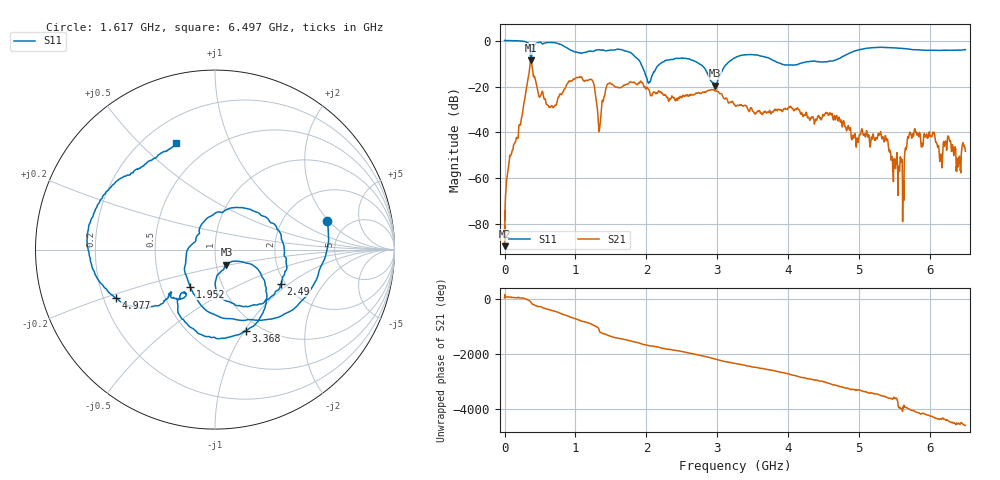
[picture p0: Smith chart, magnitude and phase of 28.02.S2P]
!Keysight Technologies,E5063A,MY54503115,A.05.08
!Date: Mon Dec 04 18:03:53 2023
!Data & Calibration Information:
!Freq	S11:NONE(--)	S21:NONE(--)	S12:NONE(--)	S22:NONE(--)
# Hz S dB R 50
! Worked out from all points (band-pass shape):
!   10001 points, 100 kHz to 6.5 GHz, reference 50 ohm
!   highest |S21| = -8.52 dB at 369.3 MHz (marker M1); lowest = -89.5 dB at 1.4 MHz (marker M2)
!   |S21| within 3 dB of the highest: 354.9 MHz to 389.8 MHz (34.92 MHz wide, 9.38 % of centre)
!   lowest |S11| = -19.6 dB at 2.969 GHz (marker M3), VSWR 1.23, Z = 56 - j9.44 ohm
!   |S11| at or under -10 dB: 1.923 GHz to 2.196 GHz (273.1 MHz wide, 13.3 % of centre); 2.739 GHz to 3.14 GHz (401.2 MHz wide, 13.6 % of centre); 3.897 GHz to 4.165 GHz (268.2 MHz wide, 6.65 % of centre)
!   S12 and S22 are empty: the file has one direction only
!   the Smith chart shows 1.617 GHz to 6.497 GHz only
!   S11 on the Smith chart (normalised r, x): 1.617 GHz: 3.52, +1.92; 1.952 GHz: 0.70, -0.31; 2.49 GHz: 1.90, -0.87; 3.368 GHz: 0.86, -1.02; 4.977 GHz: 0.25, -0.22; 6.497 GHz: 0.32, +0.65
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100000  0.04 -0.5  -80.52 42.9  -200.00 0.0  -200.00 0.0
1399980  0.00 -0.8  -89.48 108.6  -200.00 0.0  -200.00 0.0
2.314964e8  -0.19 -76.0  -35.11 49.6  -200.00 0.0  -200.00 0.0
3.692943e8  -9.18 -132.8  -8.52 -112.3  -200.00 0.0  -200.00 0.0
5.83141e8  -0.94 171.6  -27.20 7.7  -200.00 0.0  -200.00 0.0
7.300388e8  -1.09 97.5  -27.93 -93.7  -200.00 0.0  -200.00 0.0
8.769365e8  -3.15 2.6  -19.14 124.9  -200.00 0.0  -200.00 0.0
1.083633e9  -5.62 -156.8  -15.77 -67.4  -200.00 0.0  -200.00 0.0
1.335179e9  -4.03 91.5  -39.54 -55.9  -200.00 0.0  -200.00 0.0
1.616625e9  -3.81 14.3  -20.45 17.8  -200.00 0.0  -200.00 0.0
1.95202e9  -12.09 -123.9  -18.76 162.0  -200.00 0.0  -200.00 0.0
2.167167e9  -10.83 52.3  -22.13 63.8  -200.00 0.0  -200.00 0.0
2.489562e9  -7.67 -27.3  -24.58 -94.0  -200.00 0.0  -200.00 0.0
2.969254e9  -19.57 -52.5  -21.90 -10.5  -200.00 0.0  -200.00 0.0
3.25005e9  -7.45 -48.8  -28.20 -170.5  -200.00 0.0  -200.00 0.0
3.367698e9  -6.32 -69.0  -28.52 135.7  -200.00 0.0  -200.00 0.0
4.333583e9  -8.99 -130.6  -33.51 -25.5  -200.00 0.0  -200.00 0.0
4.977073e9  -4.22 -154.1  -42.46 -52.9  -200.00 0.0  -200.00 0.0
5.417117e9  -3.06 162.0  -46.58 9.5  -200.00 0.0  -200.00 0.0
5.602364e9  -3.40 148.4  -52.13 -22.7  -200.00 0.0  -200.00 0.0
6.4974e9  -3.95 110.1  -47.48 101.7  -200.00 0.0  -200.00 0.0
6.5e9  -3.95 110.0  -48.18 101.5  -200.00 0.0  -200.00 0.0
